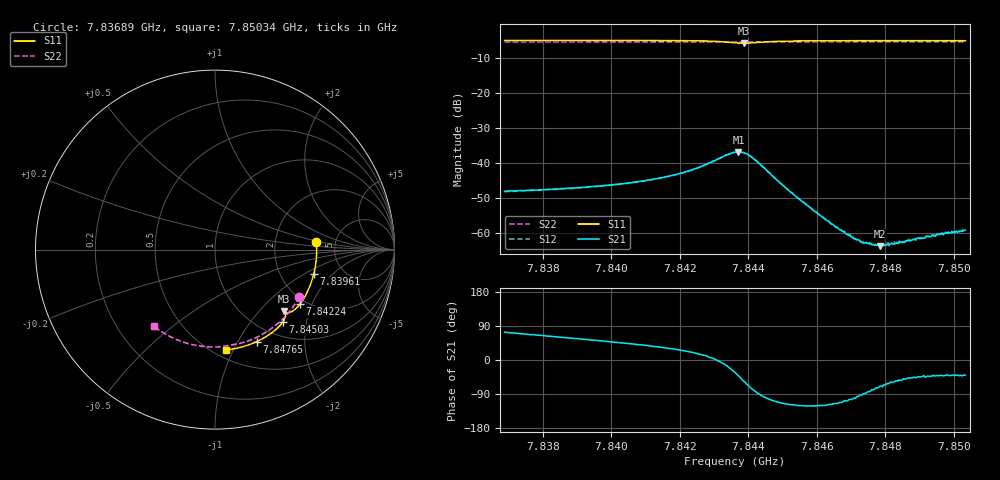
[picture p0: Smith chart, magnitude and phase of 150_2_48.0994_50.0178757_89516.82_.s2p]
#  HZ  S  RI  R  50.00
! Rohde & Schwarz Vector Network Analyzer
! Rohde-Schwarz,ZNB20-2Port,1311601062101988,3.16
! Created: UTC 12/23/2023, 3:49:40 AM
! freq[Hz]  re:S11  im:S11  re:S21  im:S21  re:S12  im:S12  re:S22  im:S22
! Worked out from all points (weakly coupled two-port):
!   401 points, 7.83689 GHz to 7.85034 GHz, reference 50 ohm
!   highest |S21| = -36.84 dB at 7.84372 GHz (marker M1); lowest = -63.7 dB at 7.84785 GHz (marker M2)
!   lowest |S11| = -5.7 dB at 7.84388 GHz (marker M3), VSWR 3.14, Z = 73.9 - j69.5 ohm
!   |S11| at or under -10 dB: nowhere
!   |S22| runs from -5.4 to -5.3 dB; largest |S21 - S12| = 0.00034
!   S11 on the Smith chart (normalised r, x): 7.83689 GHz: 3.55, +0.45; 7.83961 GHz: 3.07, -1.24; 7.84224 GHz: 1.86, -1.64; 7.84503 GHz: 1.26, -1.47; 7.84765 GHz: 0.80, -1.20; 7.85034 GHz: 0.57, -0.93
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7.836889e9  0.5646 0.043  0.00112 0.00376  0.0012 0.00373  0.4708 -0.2634
7.839142e9  0.5567 -0.1064  0.00255 0.00367  0.00253 0.00363  0.3754 -0.3887
7.839613e9  0.55 -0.1374  0.00291 0.00365  0.0029 0.0036  0.351 -0.4109
7.840589e9  0.53 -0.2003  0.00384 0.00354  0.00381 0.00354  0.2965 -0.4523
7.841396e9  0.5067 -0.2509  0.00501 0.00341  0.00498 0.00342  0.2478 -0.4811
7.842237e9  0.4747 -0.302  0.00704 0.00293  0.00696 0.00293  0.1938 -0.5054
7.843111e9  0.4248 -0.347  0.0114 -0.000255  0.0113 -0.00021  0.1352 -0.5233
7.843616e9  0.3903 -0.3504  0.012 -0.00775  0.0119 -0.00771  0.1013 -0.5295
7.843717e9  0.3868 -0.3479  0.0107 -0.00956  0.0107 -0.00961  0.0949 -0.5306
7.843885e9  0.3861 -0.3443  0.00758 -0.0117  0.00762 -0.0116  0.0842 -0.5325
7.844053e9  0.39 -0.3456  0.00392 -0.0119  0.00404 -0.012  0.0734 -0.5346
7.844255e9  0.3938 -0.3546  0.000675 -0.0106  0.0007 -0.0106  0.0602 -0.537
7.845028e9  0.3764 -0.4052  -0.00196 -0.0043  -0.00196 -0.00432  0.00594 -0.5426
7.845869e9  0.3347 -0.449  -0.00112 -0.00184  -0.00111 -0.00189  -0.0533 -0.5409
7.846474e9  0.3012 -0.4741  -0.000571 -0.00118  -0.000582 -0.00116  -0.0955 -0.5354
7.847046e9  0.2679 -0.4946  -0.000192 -0.000847  -0.000147 -0.000831  -0.1348 -0.5274
7.847315e9  0.2518 -0.5031  -3.06e-05 -0.000725  -3.76e-05 -0.000739  -0.153 -0.5226
7.847652e9  0.2315 -0.5131  0.000132 -0.000675  0.000153 -0.000658  -0.1756 -0.5157
7.847853e9  0.219 -0.5184  0.000234 -0.000606  0.000194 -0.000618  -0.1891 -0.5109
7.848122e9  0.2023 -0.5253  0.000332 -0.000603  0.000339 -0.000571  -0.2067 -0.5041
7.849905e9  0.0876 -0.5557  0.000758 -0.000665  0.000755 -0.000685  -0.3164 -0.4451
7.850342e9  0.0587 -0.5592  0.000834 -0.000708  0.000821 -0.000706  -0.3408 -0.4266
